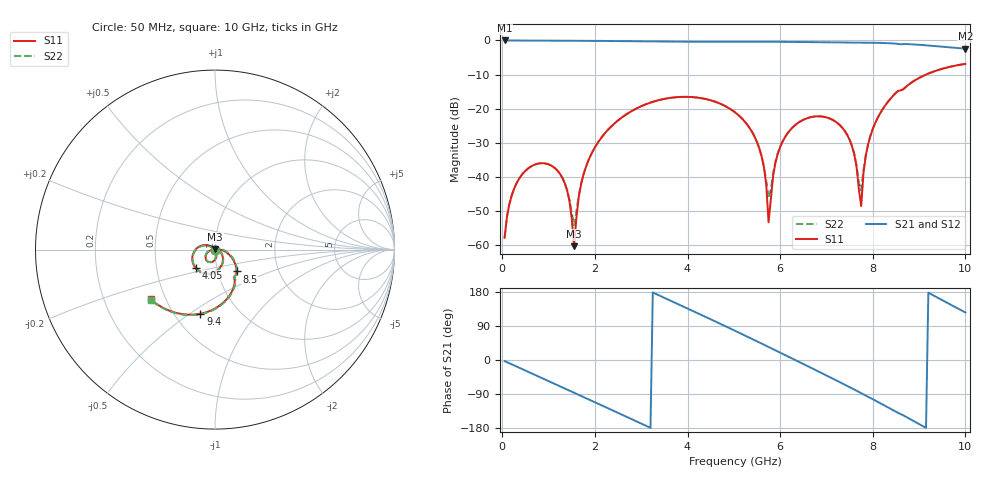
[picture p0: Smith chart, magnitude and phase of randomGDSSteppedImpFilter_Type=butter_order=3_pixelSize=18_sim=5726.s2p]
! freq	dB(S11)	phase(S11)	dB(S12)	phase(S12)
!  dB(S21)	phase(S21)	dB(S22)	phase(S22)
!S-par simulation data
#  GHz  S  DB  R 50
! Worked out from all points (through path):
!   200 points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, 50 MHz to 10 GHz, reference 50 ohm
!   highest |S21| = 0.00 dB at 50 MHz (marker M1); lowest = -2.4 dB at 10 GHz (marker M2)
!   group delay of S21, straight-line fit = 164 ps
!   lowest |S11| = -60.3 dB at 1.55 GHz (marker M3), VSWR 1.00, Z = 50 + j0.0967 ohm
!   |S11| at or under -10 dB: start of sweep to 9.15 GHz
!   |S22| runs from -57.8 to -6.9 dB; largest |S21 - S12| = 0
!   S11 on the Smith chart (normalised r, x): 50 MHz: 1.00, -0.00; 4.05 GHz: 0.79, -0.17; 8.5 GHz: 1.23, -0.31; 9.4 GHz: 0.67, -0.55; 10 GHz: 0.41, -0.29
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0.05  -57.80 -87.8  -0.00 -2.8  -0.00 -2.8  -57.80 -87.9
0.3  -42.05 -103.7  -0.03 -16.8  -0.03 -16.8  -42.05 -104.0
0.9  -35.99 -140.8  -0.06 -50.1  -0.06 -50.1  -35.98 -142.2
1.35  -41.88 -170.3  -0.08 -75.2  -0.08 -75.2  -41.76 -176.2
1.55  -60.26 95.0  -0.10 -86.3  -0.10 -86.3  -54.14 94.6
1.75  -39.49 -2.8  -0.11 -97.5  -0.11 -97.5  -39.32 4.1
2.35  -25.23 -40.5  -0.16 -131.1  -0.16 -131.1  -25.21 -38.4
3.4  -17.42 -100.0  -0.31 169.7  -0.31 169.7  -17.41 -98.7
4.05  -16.55 -136.4  -0.38 133.1  -0.38 133.1  -16.55 -135.1
5.05  -21.32 167.2  -0.37 75.7  -0.37 75.7  -21.32 169.5
5.55  -31.63 140.2  -0.37 46.3  -0.37 46.3  -31.53 147.2
5.7  -42.30 139.2  -0.38 37.4  -0.38 37.4  -41.15 160.1
5.75  -53.26 178.5  -0.38 34.4  -0.38 34.4  -46.21 -159.9
6  -31.23 -72.8  -0.40 19.5  -0.40 19.5  -31.10 -78.9
6.7  -22.38 -112.8  -0.49 -22.6  -0.49 -22.6  -22.36 -114.8
7.45  -27.73 -160.6  -0.57 -68.5  -0.57 -68.5  -27.68 -164.4
7.75  -48.51 53.8  -0.61 -87.4  -0.61 -87.4  -43.94 70.7
7.9  -30.41 0.1  -0.64 -97.0  -0.64 -97.0  -30.24 5.9
8.35  -17.60 -33.7  -0.81 -126.5  -0.81 -126.5  -17.58 -32.1
8.5  -15.33 -45.4  -0.95 -136.6  -0.95 -136.6  -15.32 -44.1
9.4  -8.71 -102.9  -1.71 164.4  -1.71 164.4  -8.70 -102.1
10  -6.88 -142.3  -2.42 125.4  -2.42 125.4  -6.87 -141.6
